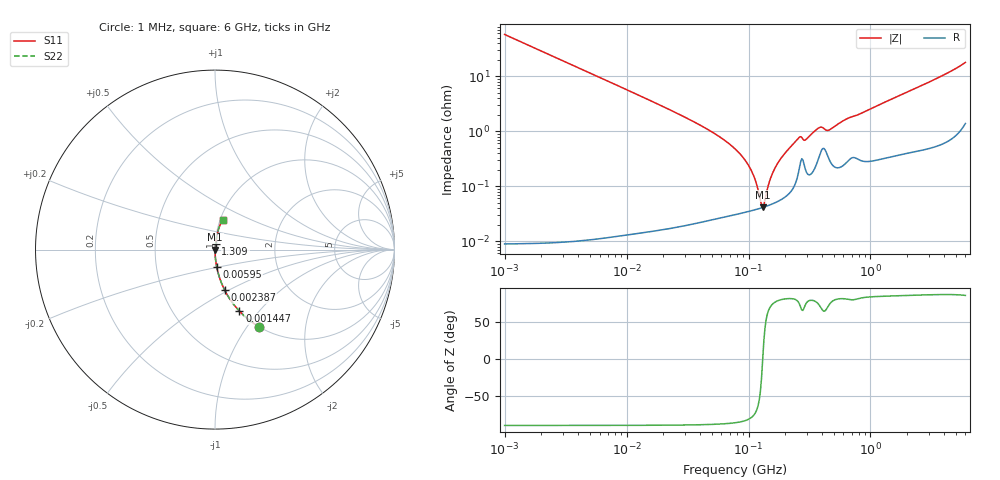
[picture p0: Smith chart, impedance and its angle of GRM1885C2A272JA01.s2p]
!Murata Part Number: GRM1885C2A272JA01
!These Parameters are Measured in Series Mode Connection
!Data Generated on Mar 30, 2021
!  o--ll--o
!Port1  Port2
!  o------o
!Operation Temp=25[degC], DC Bias Voltage=0[V]
!Freq. Start=1000[kHz] Stop=6[GHz] 401[Steps]
# Hz S RI R 50
!Freq.(Hz) S11(Real) S11(Imag) S21(Real) S21(Imag) S12(Real) S12(Imag) S22(Real) S22(Imag)
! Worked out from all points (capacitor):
!   401 points, 1 MHz to 6 GHz, reference 50 ohm
!   read as one part in series: C = 2.78 nF near 1.044 MHz
!   lowest |Z| = 41.1 mohm at 130.5 MHz (marker M1)
!   series resonance near 130.7 MHz, so ESL is about 530 pH
!   S11 on the Smith chart (normalised r, x): 1 MHz: 1.00, -1.15; 1.447 MHz: 1.00, -0.79; 2.387 MHz: 1.00, -0.48; 5.95 MHz: 1.00, -0.19; 1.309 GHz: 1.01, +0.07; 6 GHz: 1.03, +0.35
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1000000  0.2473 -0.4314  0.7527 0.4314  0.7527 0.4314  0.2473 -0.4314
1447343  0.1356 -0.3423  0.8644 0.3423  0.8644 0.3423  0.1356 -0.3423
2386795  0.0546 -0.2269  0.9454 0.2269  0.9454 0.2269  0.0546 -0.2269
4293785  0.0176 -0.131  0.9824 0.131  0.9824 0.131  0.0176 -0.131
5950055  0.00926 -0.0952  0.9907 0.0952  0.9907 0.0952  0.00926 -0.0952
1.843659e7  0.00108 -0.0304  0.9989 0.0304  0.9989 0.0304  0.00108 -0.0304
4.596069e7  0.000352 -0.0109  0.9996 0.0109  0.9996 0.0109  0.000352 -0.0109
7.745967e7  0.000326 -0.00477  0.9997 0.00477  0.9997 0.00477  0.000326 -0.00477
1.050294e8  0.000361 -0.00193  0.9996 0.00193  0.9996 0.00193  0.000361 -0.00193
1.249896e8  0.000398 -0.000394  0.9996 0.000394  0.9996 0.000394  0.000398 -0.000394
1.305463e8  0.000411 -1.22e-05  0.9996 1.22e-05  0.9996 1.22e-05  0.000411 -1.22e-05
1.363501e8  0.000424 0.000371  0.9996 -0.000371  0.9996 -0.000371  0.000424 0.000371
1.553559e8  0.000475 0.00154  0.9995 -0.00154  0.9995 -0.00154  0.000475 0.00154
1.848803e8  0.00058 0.00318  0.9994 -0.00318  0.9994 -0.00318  0.00058 0.00318
2.561955e8  0.00178 0.00724  0.9982 -0.00724  0.9982 -0.00724  0.00178 0.00724
2.919064e8  0.0021 0.00656  0.9979 -0.00656  0.9979 -0.00656  0.0021 0.00656
3.325952e8  0.00183 0.00894  0.9982 -0.00894  0.9982 -0.00894  0.00183 0.00894
3.872876e8  0.00406 0.011  0.9959 -0.011  0.9959 -0.011  0.00406 0.011
4.608893e8  0.00308 0.0101  0.9969 -0.0101  0.9969 -0.0101  0.00308 0.0101
1.309106e9  0.00432 0.0332  0.9957 -0.0332  0.9957 -0.0332  0.00432 0.0332
1.428092e9  0.00468 0.0363  0.9953 -0.0363  0.9953 -0.0363  0.00468 0.0363
6e9  0.0429 0.1675  0.9571 -0.1675  0.9571 -0.1675  0.0429 0.1675
